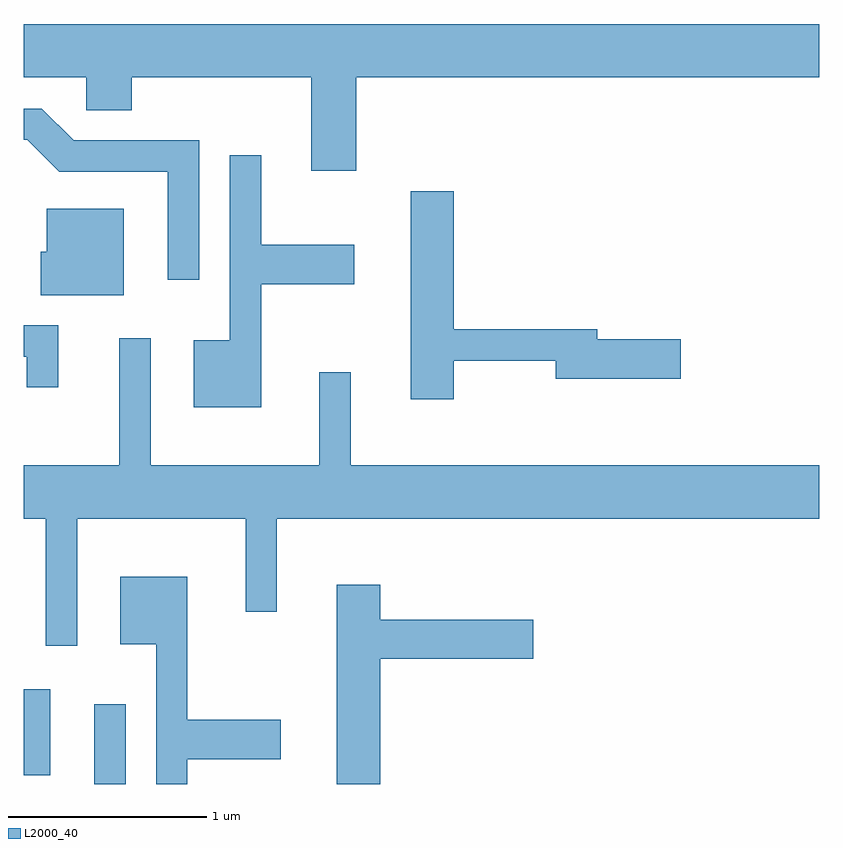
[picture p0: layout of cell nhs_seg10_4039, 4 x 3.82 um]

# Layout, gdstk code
import gdstk
lib = gdstk.Library(unit=1e-6, precision=1e-09)
def R(c, l, rs):  # rectangles x0, y0, x1, y1
    for r in rs: c.add(gdstk.rectangle(r[:2], r[2:], *l))
def P(c, l, *ps):  # polygons
    for p in ps: c.add(gdstk.Polygon(p, *l))
L2000_40 = (2000, 40)

nhs_seg10_4039 = lib.new_cell('nhs_seg10_4039')
R(nhs_seg10_4039, L2000_40, [(303.966,2172.522,304.124,2172.923), (303.611,2172.566,303.744,2172.999)])
P(nhs_seg10_4039, L2000_40, [(305.284,2176.076),(307.611,2176.076),(307.611,2176.344),(303.611,2176.344),(303.611,2176.076),(303.926,2176.076),(303.926,2175.911),(304.154,2175.911),(304.154,2176.076),(305.056,2176.076),(305.056,2175.606),(305.284,2175.606)],
  [(304.494,2175.759),(303.862,2175.759),(303.702,2175.919),(303.611,2175.919),(303.611,2175.761),(303.629,2175.761),(303.789,2175.601),(304.336,2175.601),(304.336,2175.058),(304.494,2175.058)],
  [(304.804,2175.036),(305.274,2175.036),(305.274,2175.234),(304.804,2175.234),(304.804,2175.683),(304.646,2175.683),(304.646,2174.754),(304.466,2174.754),(304.466,2174.416),(304.804,2174.416)],
  [(305.774,2174.651),(306.286,2174.651),(306.286,2174.561),(306.914,2174.561),(306.914,2174.759),(306.494,2174.759),(306.494,2174.809),(305.774,2174.809),(305.774,2175.504),(305.556,2175.504),(305.556,2174.456),(305.774,2174.456)],
  [(304.114,2175.414),(303.726,2175.414),(303.726,2175.199),(303.696,2175.199),(303.696,2174.981),(304.114,2174.981)],
  [(303.784,2174.829),(303.611,2174.829),(303.611,2174.671),(303.626,2174.671),(303.626,2174.518),(303.784,2174.518)],
  [(304.249,2174.763),(304.091,2174.763),(304.091,2174.124),(303.611,2174.124),(303.611,2173.856),(303.721,2173.856),(303.721,2173.218),(303.879,2173.218),(303.879,2173.856),(304.726,2173.856),(304.726,2173.388),(304.884,2173.388),(304.884,2173.856),(307.611,2173.856),(307.611,2174.124),(305.254,2174.124),(305.254,2174.593),(305.096,2174.593),(305.096,2174.124),(304.249,2174.124)],
  [(304.434,2172.646),(304.904,2172.646),(304.904,2172.844),(304.434,2172.844),(304.434,2173.564),(304.096,2173.564),(304.096,2173.226),(304.276,2173.226),(304.276,2172.522),(304.434,2172.522)],
  [(305.404,2173.151),(306.174,2173.151),(306.174,2173.349),(305.404,2173.349),(305.404,2173.524),(305.186,2173.524),(305.186,2172.522),(305.404,2172.522)])

lib.write_gds('nhs_seg10_4039.gds')
